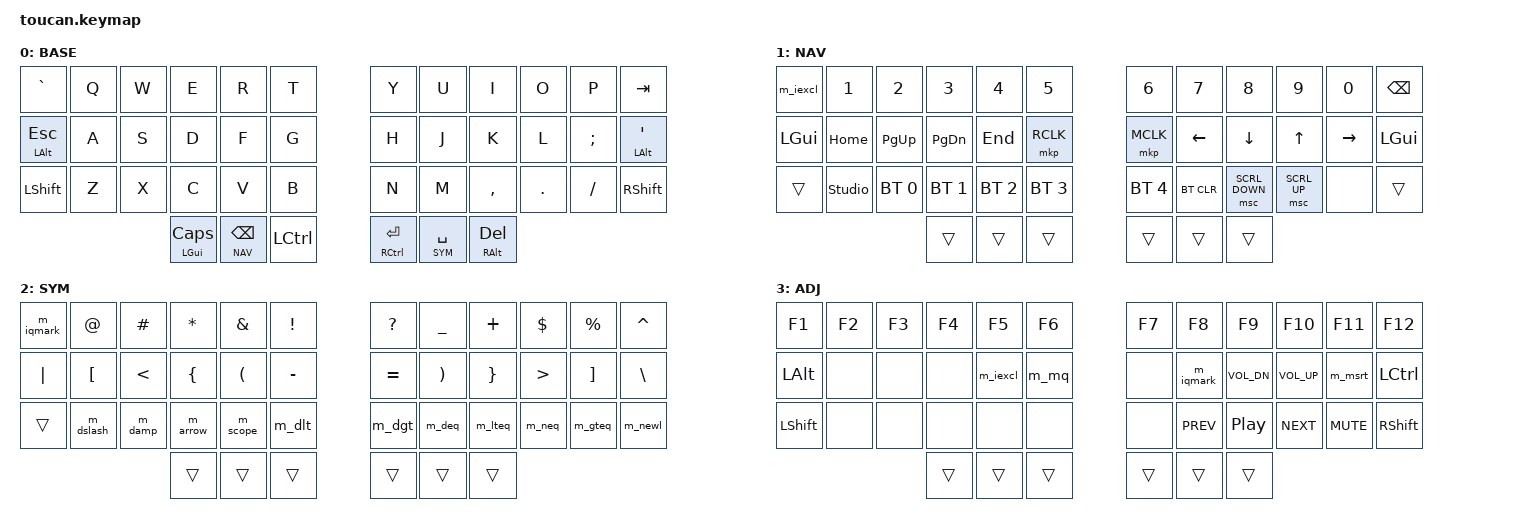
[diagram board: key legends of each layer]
#include <behaviors.dtsi>
#include <dt-bindings/zmk/keys.h>
#include <dt-bindings/zmk/bt.h>
#include <dt-bindings/zmk/outputs.h>
#include <dt-bindings/zmk/mouse.h>

#define BASE 0
#define NAV  1
#define SYM  2
#define ADJ  3

/* Mod-tap: balanced flavor for reliable Emacs/i3 modifier combos */
&mt {
    flavor = "balanced";
    tapping-term-ms = <200>;
    quick-tap-ms = <150>;
};

/* Layer-tap: balanced flavor, quick-tap for double-Enter/double-Tab */
&lt {
    flavor = "balanced";
    tapping-term-ms = <200>;
    quick-tap-ms = <150>;
    require-prior-idle-ms = <125>;
};

/ {
    macros {
        m_scope: m_scope {
            compatible = "zmk,behavior-macro";
            #binding-cells = <0>;
            bindings = <&macro_tap &kp COLON &kp COLON>;
        };

        m_arrow: m_arrow {
            compatible = "zmk,behavior-macro";
            #binding-cells = <0>;
            bindings = <&macro_tap &kp MINUS &kp GT>;
        };

        m_damp: m_damp {
            compatible = "zmk,behavior-macro";
            #binding-cells = <0>;
            bindings = <&macro_tap &kp AMPS &kp AMPS>;
        };

        m_dslash: m_dslash {
            compatible = "zmk,behavior-macro";
            #binding-cells = <0>;
            bindings = <&macro_tap &kp FSLH &kp FSLH>;
        };

        m_deq: m_deq {
            compatible = "zmk,behavior-macro";
            #binding-cells = <0>;
            bindings = <&macro_tap &kp EQUAL &kp EQUAL>;
        };

        m_neq: m_neq {
            compatible = "zmk,behavior-macro";
            #binding-cells = <0>;
            bindings = <&macro_tap &kp EXCL &kp EQUAL>;
        };

        m_lteq: m_lteq {
            compatible = "zmk,behavior-macro";
            #binding-cells = <0>;
            bindings = <&macro_tap &kp LT &kp EQUAL>;
        };

        m_gteq: m_gteq {
            compatible = "zmk,behavior-macro";
            #binding-cells = <0>;
            bindings = <&macro_tap &kp GT &kp EQUAL>;
        };

        m_dlt: m_dlt {
            compatible = "zmk,behavior-macro";
            #binding-cells = <0>;
            bindings = <&macro_tap &kp LT &kp LT>;
        };

        m_dgt: m_dgt {
            compatible = "zmk,behavior-macro";
            #binding-cells = <0>;
            bindings = <&macro_tap &kp GT &kp GT>;
        };

        m_iexcl: m_iexcl {
            compatible = "zmk,behavior-macro";
            #binding-cells = <0>;
            bindings = <&macro_press &kp RALT &kp LSHFT>, <&macro_tap &kp N1>, <&macro_release &kp LSHFT &kp RALT>;
        };

        m_iqmark: m_iqmark {
            compatible = "zmk,behavior-macro";
            #binding-cells = <0>;
            bindings = <&macro_press &kp RALT>, <&macro_tap &kp FSLH>, <&macro_release &kp RALT>;
        };

        m_newl: m_newl {
            compatible = "zmk,behavior-macro";
            #binding-cells = <0>;
            bindings = <&macro_tap &kp BSLH &kp N>;
        };

        m_mq: m_mq {
            compatible = "zmk,behavior-macro";
            #binding-cells = <0>;
            bindings = <&macro_press &kp LALT &kp LSHFT>, <&macro_tap &kp FSLH>, <&macro_release &kp LSHFT &kp LALT>;
        };

        m_msrt: m_msrt {
            compatible = "zmk,behavior-macro";
            #binding-cells = <0>;
            bindings = <&macro_press &kp LALT &kp LSHFT>, <&macro_tap &kp RIGHT>, <&macro_release &kp LSHFT &kp LALT>;
        };
    };

    combos {
        compatible = "zmk,combos";
        combo_lclk {
            timeout-ms = <50>;
            key-positions = <16 17>;
            bindings = <&mkp LCLK>;
            layers = <BASE>;
        };
    };

    conditional_layers {
        compatible = "zmk,conditional-layers";
        tri_layer {
            if-layers = <NAV SYM>;
            then-layer = <ADJ>;
        };
    };

    keymap {
        compatible = "zmk,keymap";

        base {
            display-name = "BASE";
            bindings = <
                &kp GRAVE     &kp Q  &kp W  &kp E  &kp R  &kp T      &kp Y      &kp U  &kp I      &kp O    &kp P      &kp TAB
                &mt LALT ESC  &kp A  &kp S  &kp D  &kp F  &kp G      &kp H      &kp J  &kp K      &kp L    &kp SEMI   &mt LALT SQT
                &kp LSHFT     &kp Z  &kp X  &kp C  &kp V  &kp B      &kp N      &kp M  &kp COMMA  &kp DOT  &kp FSLH   &kp RSHFT
                                   &mt LGUI CAPS  &lt NAV BSPC  &kp LCTRL  &mt RCTRL RET  &lt SYM SPACE  &mt RALT DEL
            >;
        };

        nav {
            display-name = "NAV";
            bindings = <
                &m_iexcl    &kp N1          &kp N2        &kp N3        &kp N4        &kp N5            &kp N6        &kp N7      &kp N8          &kp N9        &kp N0     &kp BSPC
                &kp LGUI    &kp HOME        &kp PG_UP     &kp PG_DN     &kp END       &mkp RCLK         &mkp MCLK     &kp LEFT    &kp DOWN        &kp UP        &kp RIGHT  &kp LGUI
                &trans      &studio_unlock  &bt BT_SEL 0  &bt BT_SEL 1  &bt BT_SEL 2  &bt BT_SEL 3      &bt BT_SEL 4  &bt BT_CLR  &msc SCRL_DOWN  &msc SCRL_UP  &none      &trans
                                            &trans        &trans        &trans                           &trans        &trans      &trans
            >;
        };

        sym {
            display-name = "SYM";
            bindings = <
                &m_iqmark  &kp AT    &kp HASH  &kp ASTRK  &kp AMPS   &kp EXCL      &kp QMARK  &kp UNDER  &kp PLUS   &kp DLLR  &kp PRCNT  &kp CARET
                &kp PIPE   &kp LBKT  &kp LT    &kp LBRC   &kp LPAR   &kp MINUS     &kp EQUAL  &kp RPAR   &kp RBRC   &kp GT    &kp RBKT   &kp BSLH
                &trans     &m_dslash &m_damp   &m_arrow   &m_scope   &m_dlt        &m_dgt     &m_deq     &m_lteq    &m_neq    &m_gteq    &m_newl
                                     &trans    &trans     &trans                    &trans     &trans     &trans
            >;
        };

        adj {
            display-name = "ADJ";
            bindings = <
                &kp F1    &kp F2  &kp F3  &kp F4  &kp F5    &kp F6      &kp F7  &kp F8      &kp F9        &kp F10       &kp F11    &kp F12
                &kp LALT  &none   &none   &none   &m_iexcl  &m_mq       &none   &m_iqmark   &kp C_VOL_DN  &kp C_VOL_UP  &m_msrt    &kp LCTRL
                &kp LSHFT &none   &none   &none   &none     &none       &none   &kp C_PREV  &kp C_PP      &kp C_NEXT    &kp C_MUTE &kp RSHFT
                                &trans  &trans  &trans                 &trans  &trans      &trans
            >;
        };

        extra_1 {
            status = "reserved";
        };

        extra_2 {
            status = "reserved";
        };

        extra_3 {
            status = "reserved";
        };
    };
};
